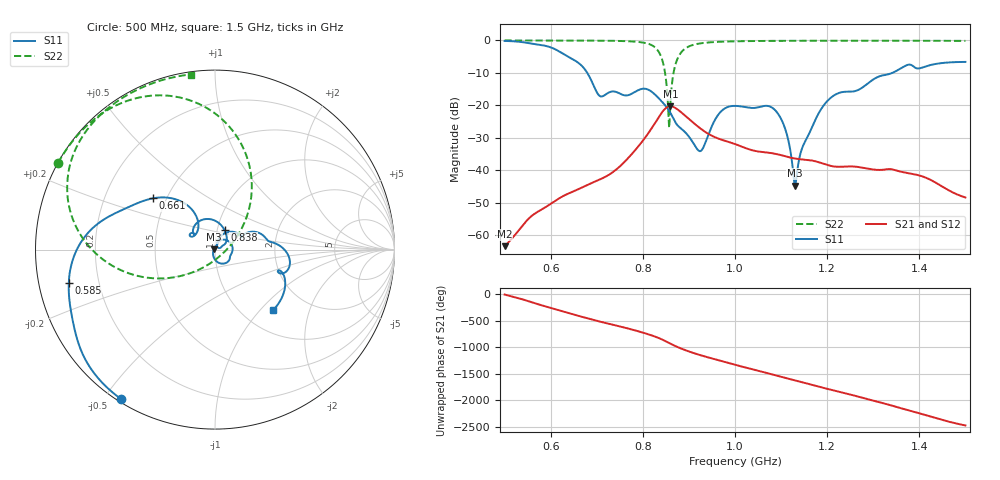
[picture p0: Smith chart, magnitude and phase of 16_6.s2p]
! TOUCHSTONE file generated by CST MICROWAVE STUDIO
! Date and time: Sat Oct 24 11:45:01 2020
! Project name: Scenario_1_Circular_Tissue_out_of_Line.cst
! Parameters = {dy1=-85.885; L_HA=400; MT=2.54; Rad_Dielectric=30; Rad_Lower=7.3; Rad_Upper=30; a_HA=580; a_WG=246; b_HA=500; b_WG=121; c_HA=0; c_WG=187; d_feed=85; dx1=1039; h_feed=15; h_lower=18; h_upper=40}
! Header version: 2018
! Port assignment regex: !\s*Touchstone port\s*([0-9]+)\s*=\s*(CST MWS port|CST DS port)\s*([0-9]+|Zmin|Zmax)\s*\(\"(.*)\"\)(\s*mode\s*([0-9]+))?.*
! Touchstone port assignment:
! Touchstone port 1 = CST MWS port 1 ("")
! Touchstone port 2 = CST MWS port 2 ("")
# GHz S DB R 50
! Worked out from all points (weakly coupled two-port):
!   1001 points, 500 MHz to 1.5 GHz, reference 50 ohm
!   highest |S21| = -20.24 dB at 860 MHz (marker M1); lowest = -63.3 dB at 500 MHz (marker M2)
!   lowest |S11| = -44.6 dB at 1.13 GHz (marker M3), VSWR 1.01, Z = 49.5 + j0.21 ohm
!   |S11| at or under -10 dB: 679.4 MHz to 1.341 GHz (661.7 MHz wide, 65.5 % of centre)
!   |S22| runs from -26.9 to 0.0 dB; largest |S21 - S12| = 1.5e-05
!   S11 on the Smith chart (normalised r, x): 500 MHz: 0.01, -0.55; 585 MHz: 0.09, -0.11; 661 MHz: 0.42, +0.30; 838 MHz: 1.08, +0.24; 1.5 GHz: 1.37, -1.18
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0.5  -0.15 -122.3  -63.30 -2.8  -63.30 -2.8  -0.01 151.1
0.585  -1.56 -167.1  -51.63 141.9  -51.63 141.9  -0.02 145.3
0.661  -6.99 140.2  -45.70 -48.0  -45.70 -48.0  -0.04 138.9
0.667  -7.74 134.9  -45.30 -62.2  -45.30 -62.2  -0.04 138.4
0.708  -17.21 138.1  -42.69 -157.2  -42.69 -157.2  -0.07 133.9
0.789  -15.37 134.5  -32.80 24.9  -32.80 24.9  -0.45 117.3
0.834  -17.72 69.5  -23.70 -104.0  -23.70 -104.0  -3.39 82.2
0.838  -18.31 64.2  -22.83 -118.8  -22.83 -118.8  -4.45 75.4
0.855  -21.18 41.4  -20.36 169.2  -20.36 169.2  -21.17 14.5
0.86  -22.32 34.9  -20.24 147.0  -20.24 147.0  -18.93 -121.6
0.868  -24.52 28.3  -20.57 112.8  -20.56 112.8  -8.98 -153.1
0.878  -26.52 27.3  -21.51 73.8  -21.51 73.8  -4.80 -170.8
0.924  -34.07 40.4  -26.98 -67.4  -26.98 -67.4  -0.92 156.2
0.965  -22.60 48.4  -30.26 -166.9  -30.26 -166.9  -0.42 145.7
1  -20.14 3.9  -31.88 109.4  -31.88 109.4  -0.27 140.2
1.09  -21.92 -70.7  -34.96 -95.9  -34.96 -95.9  -0.13 130.6
1.112  -28.63 -104.5  -35.74 -147.0  -35.74 -147.0  -0.12 128.7
1.13  -44.64 158.8  -36.34 173.3  -36.34 173.3  -0.11 127.1
1.167  -26.76 71.7  -36.95 88.9  -36.95 88.9  -0.10 124.2
1.213  -17.09 45.2  -38.74 -13.3  -38.74 -13.3  -0.09 120.6
1.334  -10.36 8.8  -39.57 71.8  -39.58 71.9  -0.09 111.5
1.5  -6.61 -46.2  -48.31 40.5  -48.31 40.5  -0.13 97.8
